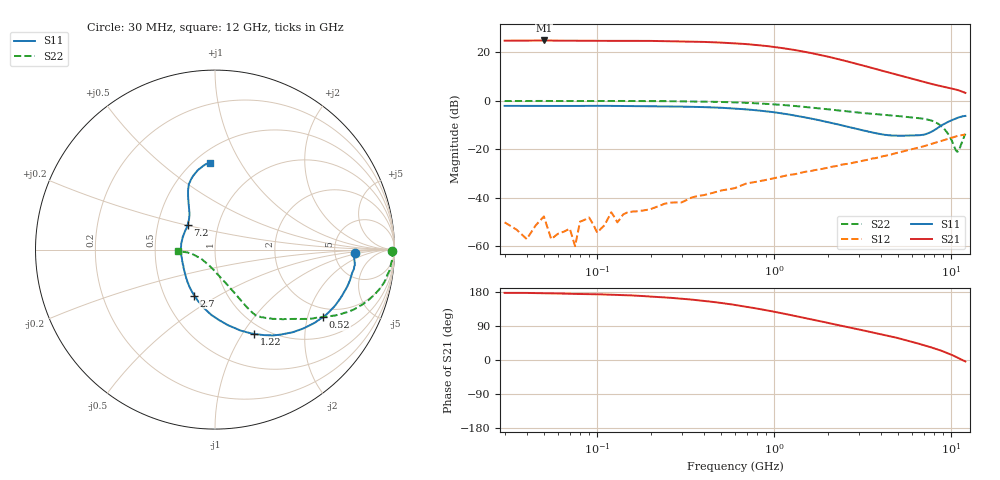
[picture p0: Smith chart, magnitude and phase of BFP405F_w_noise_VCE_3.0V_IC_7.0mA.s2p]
! Infineon Technologies  Discrete & RF Semiconductors
! BFP405F
! VCE =  3.0 V,  IC =  7.0 mA
! Common Emitter S-Parameters:  Nov 2015
# GHz  S  MA  R  50
!  f  S11  S21  S12  S22
! GHz  MAG  ANG  MAG  ANG  MAG  ANG  MAG  ANG
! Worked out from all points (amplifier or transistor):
!   239 points, 30 MHz to 12 GHz, reference 50 ohm
!   highest |S21| = 24.8 dB at 50 MHz (marker M1)
!   |S21| within 3 dB of that: start of sweep to 1.074 GHz
!   unconditionally stable (mu >= 1): 2.625 GHz to end of sweep
!   at 300 MHz: K = 0.14, MSG = 33.2 dB, |S12| = -41.9 dB
!   at 1.88 GHz: K = 0.77, MSG = 23.4 dB, |S12| = -28.1 dB
!   at 12 GHz: K = 1.42, MAG = 4.7 dB, |S12| = -13.9 dB
!   lowest NFmin = 1.45 dB at 450 MHz
!   S11 on the Smith chart (normalised r, x): 30 MHz: 8.10, -0.86; 520 MHz: 1.66, -2.51; 1.22 GHz: 0.88, -1.13; 2.7 GHz: 0.70, -0.39; 7.2 GHz: 0.71, +0.20; 12 GHz: 0.59, +0.75
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0.03  0.7824 -1.5  17.32 177.2  0.0031 95.4  0.9853 -0.5
0.04  0.7804 -2.3  17.33 177.0  0.0014 78.4  0.9886 -0.9
0.05  0.777 -3.1  17.48 176.0  0.0041 114.0  0.9886 -1.3
0.055  0.777 -3.3  17.38 175.8  0.0014 93.8  0.986 -1.4
0.07  0.7786 -4.2  17.28 174.6  0.0023 -3.5  0.985 -1.8
0.075  0.78 -4.6  17.24 174.4  0.001 94.8  0.9876 -1.9
0.085  0.7819 -5.4  17.23 174.1  0.0035 126.2  0.9899 -2.2
0.1  0.7845 -6.4  17.16 173.5  0.0019 80.5  0.9894 -2.7
0.14  0.7781 -8.9  17.18 171.5  0.0045 104.2  0.9877 -3.8
0.24  0.7657 -15.3  16.91 165.2  0.0075 82.8  0.9794 -6.7
0.38  0.7412 -23.9  16.38 157.2  0.011 79.1  0.9625 -10.4
0.52  0.7099 -31.9  15.67 149.6  0.0144 76.7  0.9385 -14.0
0.6  0.6885 -36.4  15.24 145.3  0.0158 74.0  0.9234 -15.8
0.9  0.6036 -51.5  13.46 131.3  0.0233 70.3  0.8617 -21.7
1.22  0.5172 -65.3  11.56 119.2  0.0296 66.7  0.7952 -26.6
1.64  0.4235 -80.9  9.496 106.7  0.0361 64.2  0.7192 -31.4
2.18  0.3378 -99.1  7.551 94.2  0.0441 62.3  0.6425 -36.9
2.7  0.2811 -114.2  6.202 85.1  0.051 61.0  0.5905 -40.8
4.5  0.1937 -160.8  3.76 62.8  0.0774 56.7  0.5012 -50.3
7.2  0.2055 137.9  2.371 37.3  0.1189 48.1  0.4138 -59.1
10.8  0.4405 104.3  1.665 6.5  0.1868 29.9  0.0886 -127.9
12  0.4859 93.6  1.451 -3.8  0.201 23.1  0.2075 -177.7
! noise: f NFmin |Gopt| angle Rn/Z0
0.45  1.45  0.3  6  0.34
0.9  1.46  0.28  11  0.34
1.5  1.52  0.26  16  0.3
1.9  1.56  0.24  24  0.3
2.4  1.71  0.23  32  0.32
3  1.77  0.21  45  0.29
3.5  1.82  0.19  53  0.28
4.5  1.97  0.15  59  0.2
5.5  2.17  0.08  66  0.07
